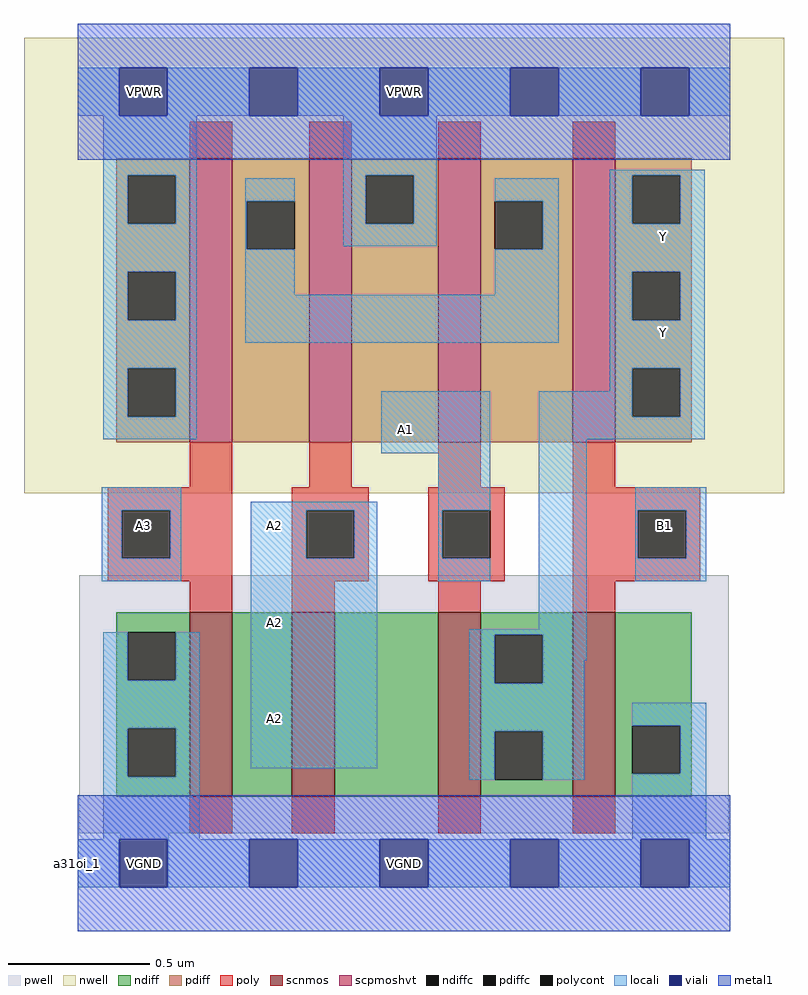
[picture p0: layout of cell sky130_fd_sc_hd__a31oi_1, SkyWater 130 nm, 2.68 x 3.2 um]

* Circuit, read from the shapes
.subckt sky130_fd_sc_hd__a31oi_1 A1 A2 A3 B1 VGND VNB VPB VPWR Y
XM1 n1 A3 VGND VNB sky130_fd_pr__nfet_01v8 w=0.65 l=0.15
XM2 n2 A2 n1 VNB sky130_fd_pr__nfet_01v8 w=0.65 l=0.15
XM3 Y A1 n2 VNB sky130_fd_pr__nfet_01v8 w=0.65 l=0.15
XM4 VGND B1 Y VNB sky130_fd_pr__nfet_01v8 w=0.65 l=0.15
XM5 n3 A3 VPWR VPB sky130_fd_pr__pfet_01v8_hvt w=1 l=0.15
XM6 VPWR A2 n3 VPB sky130_fd_pr__pfet_01v8_hvt w=1 l=0.15
XM7 n3 A1 VPWR VPB sky130_fd_pr__pfet_01v8_hvt w=1 l=0.15
XM8 Y B1 n3 VPB sky130_fd_pr__pfet_01v8_hvt w=1 l=0.15
.ends

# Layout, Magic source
magic
tech sky130B
magscale 1 2
<< nwell >>
rect -38 261 498 582
<< pwell >>
rect 1 21 459 203
rect 30 -17 64 21
<< scnmos >>
rect 79 47 109 177
rect 151 47 181 177
rect 254 47 284 177
rect 349 47 379 177
<< scpmoshvt >>
rect 79 297 109 497
rect 163 297 193 497
rect 254 297 284 497
rect 349 297 379 497
<< ndiff >>
rect 27 163 79 177
rect 27 129 35 163
rect 69 129 79 163
rect 27 95 79 129
rect 27 61 35 95
rect 69 61 79 95
rect 27 47 79 61
rect 109 47 151 177
rect 181 47 254 177
rect 284 161 349 177
rect 284 127 294 161
rect 328 127 349 161
rect 284 93 349 127
rect 284 59 294 93
rect 328 59 349 93
rect 284 47 349 59
rect 379 97 433 177
rect 379 63 391 97
rect 425 63 433 97
rect 379 47 433 63
<< pdiff >>
rect 27 485 79 497
rect 27 451 35 485
rect 69 451 79 485
rect 27 417 79 451
rect 27 383 35 417
rect 69 383 79 417
rect 27 349 79 383
rect 27 315 35 349
rect 69 315 79 349
rect 27 297 79 315
rect 109 467 163 497
rect 109 433 119 467
rect 153 433 163 467
rect 109 297 163 433
rect 193 485 254 497
rect 193 451 203 485
rect 237 451 254 485
rect 193 297 254 451
rect 284 467 349 497
rect 284 433 294 467
rect 328 433 349 467
rect 284 297 349 433
rect 379 485 433 497
rect 379 451 391 485
rect 425 451 433 485
rect 379 417 433 451
rect 379 383 391 417
rect 425 383 433 417
rect 379 349 433 383
rect 379 315 391 349
rect 425 315 433 349
rect 379 297 433 315
<< ndiffc >>
rect 35 129 69 163
rect 35 61 69 95
rect 294 127 328 161
rect 294 59 328 93
rect 391 63 425 97
<< pdiffc >>
rect 35 451 69 485
rect 35 383 69 417
rect 35 315 69 349
rect 119 433 153 467
rect 203 451 237 485
rect 294 433 328 467
rect 391 451 425 485
rect 391 383 425 417
rect 391 315 425 349
<< poly >>
rect 79 497 109 523
rect 163 497 193 523
rect 254 497 284 523
rect 349 497 379 523
rect 79 265 109 297
rect 163 265 193 297
rect 254 265 284 297
rect 349 265 379 297
rect 21 249 109 265
rect 21 215 31 249
rect 65 215 109 249
rect 21 199 109 215
rect 79 177 109 199
rect 151 249 205 265
rect 151 215 161 249
rect 195 215 205 249
rect 151 199 205 215
rect 247 249 301 265
rect 247 215 257 249
rect 291 215 301 249
rect 247 199 301 215
rect 349 249 439 265
rect 349 215 395 249
rect 429 215 439 249
rect 349 199 439 215
rect 151 177 181 199
rect 254 177 284 199
rect 349 177 379 199
rect 79 21 109 47
rect 151 21 181 47
rect 254 21 284 47
rect 349 21 379 47
<< polycont >>
rect 31 215 65 249
rect 161 215 195 249
rect 257 215 291 249
rect 395 215 429 249
<< locali >>
rect 0 527 29 561
rect 63 527 121 561
rect 155 527 213 561
rect 247 527 305 561
rect 339 527 397 561
rect 431 527 460 561
rect 18 485 84 527
rect 18 451 35 485
rect 69 451 84 485
rect 187 485 253 527
rect 18 417 84 451
rect 18 383 35 417
rect 69 383 84 417
rect 18 349 84 383
rect 118 467 153 483
rect 118 433 119 467
rect 187 451 203 485
rect 237 451 253 485
rect 375 485 442 489
rect 187 435 253 451
rect 294 467 339 483
rect 118 401 153 433
rect 328 433 339 467
rect 294 401 339 433
rect 118 367 339 401
rect 375 451 391 485
rect 425 451 442 485
rect 375 417 442 451
rect 375 383 391 417
rect 425 383 442 417
rect 18 315 35 349
rect 69 315 84 349
rect 375 349 442 383
rect 375 333 391 349
rect 18 299 84 315
rect 214 289 291 333
rect 17 249 73 265
rect 17 215 31 249
rect 65 215 73 249
rect 17 199 73 215
rect 122 249 211 255
rect 122 215 161 249
rect 195 215 211 249
rect 18 129 35 163
rect 69 129 86 163
rect 18 95 86 129
rect 18 61 35 95
rect 69 61 86 95
rect 122 67 211 215
rect 254 249 291 289
rect 254 215 257 249
rect 254 199 291 215
rect 325 315 391 333
rect 425 315 442 349
rect 325 299 442 315
rect 325 165 359 299
rect 393 249 443 265
rect 393 215 395 249
rect 429 215 443 249
rect 393 199 443 215
rect 276 161 359 165
rect 276 127 294 161
rect 328 143 359 161
rect 328 127 357 143
rect 276 93 357 127
rect 18 17 86 61
rect 276 59 294 93
rect 328 59 357 93
rect 391 97 443 113
rect 425 63 443 97
rect 391 17 443 63
rect 0 -17 29 17
rect 63 -17 121 17
rect 155 -17 213 17
rect 247 -17 305 17
rect 339 -17 397 17
rect 431 -17 460 17
<< viali >>
rect 29 527 63 561
rect 121 527 155 561
rect 213 527 247 561
rect 305 527 339 561
rect 397 527 431 561
rect 29 -17 63 17
rect 121 -17 155 17
rect 213 -17 247 17
rect 305 -17 339 17
rect 397 -17 431 17
<< metal1 >>
rect 0 561 460 592
rect 0 527 29 561
rect 63 527 121 561
rect 155 527 213 561
rect 247 527 305 561
rect 339 527 397 561
rect 431 527 460 561
rect 0 496 460 527
rect 0 17 460 48
rect 0 -17 29 17
rect 63 -17 121 17
rect 155 -17 213 17
rect 247 -17 305 17
rect 339 -17 397 17
rect 431 -17 460 17
rect 0 -48 460 -17
<< labels >>
flabel metal1 s 30 -17 64 17 0 FreeSans 200 0 0 0 VGND
port 5 nsew ground bidirectional abutment
flabel metal1 s 30 527 64 561 0 FreeSans 200 0 0 0 VPWR
port 8 nsew power bidirectional abutment
flabel locali s 396 425 430 459 0 FreeSans 200 0 0 0 Y
port 9 nsew signal output
flabel locali s 396 357 430 391 0 FreeSans 200 0 0 0 Y
port 9 nsew signal output
flabel locali s 397 221 431 255 0 FreeSans 200 0 0 0 B1
port 4 nsew signal input
flabel locali s 122 221 156 255 0 FreeSans 200 0 0 0 A2
port 2 nsew signal input
flabel locali s 122 153 156 187 0 FreeSans 200 0 0 0 A2
port 2 nsew signal input
flabel locali s 214 289 248 323 0 FreeSans 200 0 0 0 A1
port 1 nsew signal input
flabel locali s 122 85 156 119 0 FreeSans 200 0 0 0 A2
port 2 nsew signal input
flabel locali s 29 221 63 255 0 FreeSans 200 0 0 0 A3
port 3 nsew signal input
flabel nwell s 30 527 64 561 0 FreeSans 200 0 0 0 VPB
port 7 nsew power bidirectional
flabel pwell s 30 -17 64 17 0 FreeSans 200 0 0 0 VNB
port 6 nsew ground bidirectional
rlabel comment s 0 0 0 0 4 a31oi_1
rlabel metal1 s 0 -48 460 48 1 VGND
port 5 nsew ground bidirectional abutment
rlabel metal1 s 0 496 460 592 1 VPWR
port 8 nsew power bidirectional abutment
<< properties >>
string FIXED_BBOX 0 0 460 544
string GDS_END 4127366
string GDS_FILE $PDKPATH/libs.ref/sky130_fd_sc_hd/gds/sky130_fd_sc_hd.gds
string GDS_START 4122120
string LEFclass CORE
string LEFsite unithd
string LEFsymmetry X Y R90
string path 0.000 0.000 11.500 0.000 
<< end >>
